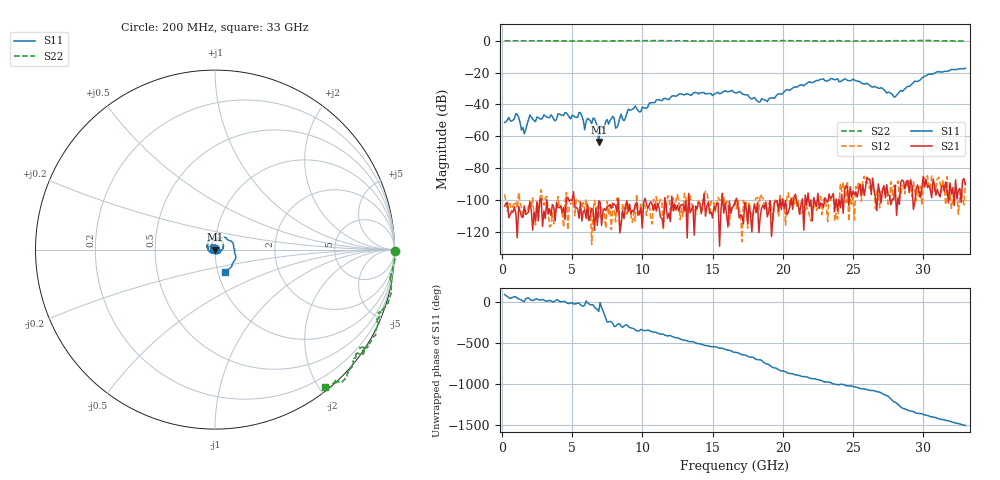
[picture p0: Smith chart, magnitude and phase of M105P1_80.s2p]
# GHZ S RI R 50
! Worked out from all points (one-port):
!   329 points, 200 MHz to 33 GHz, reference 50 ohm
!   lowest |S11| = -63.5 dB at 6.9 GHz (marker M1), VSWR 1.00, Z = 50 - j0.057 ohm
!   |S11| at or under -10 dB: start of sweep to end of sweep
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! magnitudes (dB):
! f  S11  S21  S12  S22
! 200 MHz  -51.3  -103.9  -96.5  0.0
! 1 GHz  -45.8  -108.4  -100.8  0.0
! 1.6 GHz  -58.5  -103.7  -105.5  0.0
! 2 GHz  -46.7  -101.4  -100.5  0.0
! 5.7 GHz  -47.3  -113.3  -104.5  -0.1
! 5.9 GHz  -55.9  -106.3  -106.0  -0.1
! 6.1 GHz  -48.8  -102.7  -111.8  -0.1
! 6.6 GHz  -48.9  -119.1  -100.2  -0.1
! 6.8 GHz  -53.9  -116.0  -104.3  -0.1
! 6.9 GHz  -63.5  -100.6  -111.6  -0.1
! 7 GHz  -54.9  -101.3  -102.7  -0.1
! 7.5 GHz  -49.5  -104.6  -101.0  -0.1
! 7.9 GHz  -47.5  -102.0  -103.3  0.0
! 8.1 GHz  -54.9  -103.7  -113.8  0.0
! 9 GHz  -43.0  -107.5  -102.0  0.0
! 11.2 GHz  -37.2  -105.2  -101.9  0.1
! 16.6 GHz  -32.7  -102.0  -99.8  -0.2
! 18.9 GHz  -38.2  -110.6  -106.6  0.0
! 22.1 GHz  -26.3  -113.1  -106.1  0.0
! 25 GHz  -24.1  -94.3  -98.5  -0.2
! 27.6 GHz  -32.5  -97.1  -100.6  0.0
! 33 GHz  -17.3  -90.4  -88.4  -0.1
